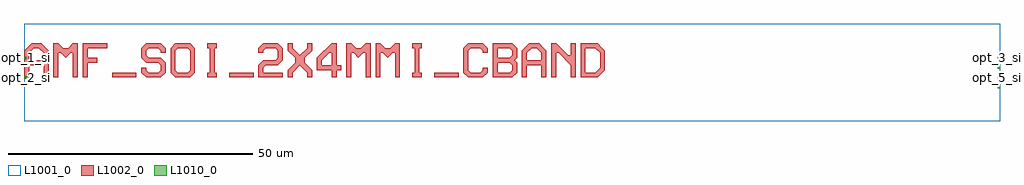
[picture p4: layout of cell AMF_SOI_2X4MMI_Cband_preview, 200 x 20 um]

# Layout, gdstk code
import gdstk
lib = gdstk.Library(unit=1e-6, precision=1e-09)
def R(c, l, rs):  # rectangles x0, y0, x1, y1
    for r in rs: c.add(gdstk.rectangle(r[:2], r[2:], *l))
def A(c, l, x, y, w, h, nx, ny, dx, dy):  # array of equal rectangles
    R(c, l, [(x+i*dx, y+j*dy, x+i*dx+w, y+j*dy+h) for i in range(nx) for j in range(ny)])
def P(c, l, *ps):  # polygons
    for p in ps: c.add(gdstk.Polygon(p, *l))
L1001_0 = (1001, 0)
L1002_0 = (1002, 0)
L1010_0 = (1010, 0)

amf_soi_2x4mmi_cband_pre = lib.new_cell('AMF_SOI_2X4MMI_Cband_preview')
R(amf_soi_2x4mmi_cband_pre, L1001_0, [(0,-9,200,11)])
R(amf_soi_2x4mmi_cband_pre, L1002_0, [(18.04,-0.002,23.04,0.998), (42.04,-0.002,47.04,0.998), (84.04,-0.002,89.04,0.998)])
P(amf_soi_2x4mmi_cband_pre, L1002_0, [(0.04,-0.002),(0.04,5.498),(1.54,6.998),(3.54,6.998),(4.54,5.998),(2.04,5.998),(1.04,4.998),(1.04,3.498),(4.04,3.498),(4.04,4.998),(3.04,5.998),(4.54,5.998),(5.04,5.498),(5.04,-0.002),(4.04,-0.002),(4.04,2.498),(1.04,2.498),(1.04,-0.002)],
  [(6.04,-0.002),(6.04,6.998),(7.04,6.998),(8.04,5.998),(9.04,5.998),(10.04,6.998),(11.04,6.998),(11.04,-0.002),(10.04,-0.002),(10.04,4.998),(9.54,4.998),(8.54,3.998),(7.54,4.998),(7.04,4.998),(7.04,-0.002)],
  [(12.04,-0.002),(12.04,6.998),(17.04,6.998),(17.04,5.998),(13.04,5.998),(13.04,3.998),(15.04,3.998),(15.04,2.998),(13.04,2.998),(13.04,-0.002)],
  [(25.04,-0.002),(24.04,0.998),(24.04,1.998),(25.04,1.998),(25.04,1.498),(25.54,0.998),(27.54,0.998),(28.04,1.498),(28.04,2.498),(27.54,2.998),(25.04,2.998),(24.04,3.998),(24.04,5.998),(25.04,6.998),(28.04,6.998),(29.04,5.998),(29.04,4.998),(28.04,4.998),(28.04,5.498),(27.54,5.998),(25.54,5.998),(25.04,5.498),(25.04,4.498),(25.54,3.998),(28.04,3.998),(29.04,2.998),(29.04,0.998),(28.04,-0.002)],
  [(31.04,-0.002),(30.04,0.998),(30.04,5.998),(31.04,6.998),(34.04,6.998),(35.04,5.998),(35.04,3.498),(34.04,3.498),(34.04,5.498),(33.54,5.998),(31.54,5.998),(31.04,5.498),(31.04,1.498),(31.54,0.998),(33.54,0.998),(34.04,1.498),(34.04,3.498),(35.04,3.498),(35.04,0.998),(34.04,-0.002)],
  [(37.54,-0.002),(37.54,0.998),(38.04,0.998),(38.04,5.998),(37.54,5.998),(37.54,6.998),(39.54,6.998),(39.54,5.998),(39.04,5.998),(39.04,0.998),(39.54,0.998),(39.54,-0.002)],
  [(48.04,-0.002),(48.04,2.498),(49.04,3.498),(51.54,3.498),(52.04,3.998),(52.04,5.498),(51.54,5.998),(49.54,5.998),(49.04,5.498),(49.04,4.998),(48.04,4.998),(48.04,5.998),(49.04,6.998),(52.04,6.998),(53.04,5.998),(53.04,3.498),(52.04,2.498),(49.54,2.498),(49.04,1.998),(49.04,0.998),(53.04,0.998),(53.04,-0.002)],
  [(54.04,-0.002),(54.04,1.498),(55.54,2.998),(55.54,3.998),(54.04,5.498),(54.04,6.998),(55.04,6.998),(55.04,5.998),(56.54,4.498),(58.04,5.998),(58.04,6.998),(59.04,6.998),(59.04,5.498),(57.54,3.998),(57.54,2.998),(59.04,1.498),(59.04,-0.002),(58.04,-0.002),(58.04,0.998),(56.54,2.498),(55.04,0.998),(55.04,-0.002)],
  [(63.04,-0.002),(63.04,1.498),(60.04,1.498),(60.04,2.498),(63.04,2.498),(63.04,4.998),(62.54,4.998),(61.04,3.498),(61.04,2.498),(60.04,2.498),(60.04,3.998),(63.04,6.998),(64.04,6.998),(64.04,2.498),(65.04,2.498),(65.04,1.498),(64.04,1.498),(64.04,-0.002)],
  [(66.04,-0.002),(66.04,6.998),(67.04,6.998),(68.04,5.998),(69.04,5.998),(70.04,6.998),(71.04,6.998),(71.04,-0.002),(70.04,-0.002),(70.04,4.998),(69.54,4.998),(68.54,3.998),(67.54,4.998),(67.04,4.998),(67.04,-0.002)],
  [(72.04,-0.002),(72.04,6.998),(73.04,6.998),(74.04,5.998),(75.04,5.998),(76.04,6.998),(77.04,6.998),(77.04,-0.002),(76.04,-0.002),(76.04,4.998),(75.54,4.998),(74.54,3.998),(73.54,4.998),(73.04,4.998),(73.04,-0.002)],
  [(79.54,-0.002),(79.54,0.998),(80.04,0.998),(80.04,5.998),(79.54,5.998),(79.54,6.998),(81.54,6.998),(81.54,5.998),(81.04,5.998),(81.04,0.998),(81.54,0.998),(81.54,-0.002)],
  [(91.04,-0.002),(90.04,0.998),(90.04,5.998),(91.04,6.998),(94.04,6.998),(95.04,5.998),(95.04,4.998),(94.04,4.998),(94.04,5.498),(93.54,5.998),(91.54,5.998),(91.04,5.498),(91.04,1.498),(91.54,0.998),(93.54,0.998),(94.04,1.498),(94.04,1.998),(95.04,1.998),(95.04,0.998),(94.04,-0.002)],
  [(96.04,-0.002),(96.04,6.998),(100.04,6.998),(101.04,5.998),(97.04,5.998),(97.04,3.998),(99.54,3.998),(100.04,4.498),(100.04,5.498),(99.54,5.998),(101.04,5.998),(101.04,3.998),(100.54,3.498),(101.04,2.998),(97.04,2.998),(97.04,0.998),(99.54,0.998),(100.04,1.498),(100.04,2.498),(99.54,2.998),(101.04,2.998),(101.04,0.998),(100.04,-0.002)],
  [(102.04,-0.002),(102.04,5.498),(103.54,6.998),(105.54,6.998),(106.54,5.998),(104.04,5.998),(103.04,4.998),(103.04,3.498),(106.04,3.498),(106.04,4.998),(105.04,5.998),(106.54,5.998),(107.04,5.498),(107.04,-0.002),(106.04,-0.002),(106.04,2.498),(103.04,2.498),(103.04,-0.002)],
  [(108.04,-0.002),(108.04,6.998),(109.04,6.998),(111.54,4.498),(112.04,4.498),(112.04,6.998),(113.04,6.998),(113.04,-0.002),(112.04,-0.002),(112.04,2.498),(109.54,4.998),(109.04,4.998),(109.04,-0.002)],
  [(114.04,-0.002),(114.04,6.998),(117.54,6.998),(118.54,5.998),(115.04,5.998),(115.04,0.998),(117.04,0.998),(118.04,1.998),(118.04,4.998),(117.04,5.998),(118.54,5.998),(119.04,5.498),(119.04,1.498),(117.54,-0.002)])
A(amf_soi_2x4mmi_cband_pre, L1010_0, 199.5, -2.25, 0.5, 0.5, 1, 4, 0, 2)
R(amf_soi_2x4mmi_cband_pre, L1010_0, [(0,-0.25,0.5,0.25), (0,3.75,0.5,4.25)])
amf_soi_2x4mmi_cband_pre.add(gdstk.Label('opt_2_si', (0,0), layer=1010, texttype=0))
amf_soi_2x4mmi_cband_pre.add(gdstk.Label('opt_3_si', (200,4), layer=1010, texttype=0))
amf_soi_2x4mmi_cband_pre.add(gdstk.Label('opt_4_si', (200,2), layer=1010, texttype=0))
amf_soi_2x4mmi_cband_pre.add(gdstk.Label('opt_5_si', (200,0), layer=1010, texttype=0))
amf_soi_2x4mmi_cband_pre.add(gdstk.Label('opt_6_si', (200,-2), layer=1010, texttype=0))
amf_soi_2x4mmi_cband_pre.add(gdstk.Label('opt_1_si', (0,4), layer=1010, texttype=0))

lib.write_gds('AMF_SOI_2X4MMI_Cband_preview.gds')
